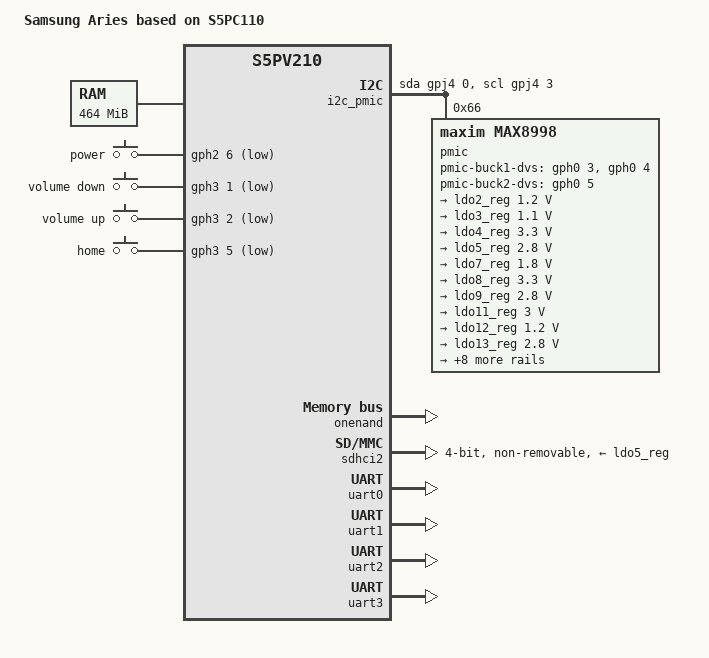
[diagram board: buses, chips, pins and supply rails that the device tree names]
/*
 * Samsung's S5PV210 SoC device tree source
 *
 * Copyright (c) 2013-2014 Samsung Electronics, Co. Ltd.
 *
 * Mateusz Krawczuk <m.krawczuk@partner.samsung.com>
 * Tomasz Figa <t.figa@samsung.com>
 *
 * Board device tree source for Samsung Aries board (Samsung GT-i9000).
 *
 * This program is free software; you can redistribute it and/or modify
 * it under the terms of the GNU General Public License version 2 as
 * published by the Free Software Foundation.
 */

/dts-v1/;
#include <dt-bindings/input/input.h>
#include "s5pv210.dtsi"

/ {
	model = "Samsung Aries based on S5PC110";
	compatible = "samsung,aries", "samsung,s5pv210";

	aliases {
		i2c6 = &i2c_pmic;
	};

	chosen {
		bootargs = "root=/dev/mmcblk0p1 rw rootwait console=ttySAC2,115200n8 ignore_loglevel earlyprintk";
	};

	memory {
		device_type = "memory";
		reg = <0x30000000 0x05000000
			0x40000000 0x10000000
			0x50000000 0x08000000>;
	};

	i2c_pmic: i2c-pmic {
		compatible = "i2c-gpio";
		gpios = <&gpj4 0 0>, /* sda */
			<&gpj4 3 0>; /* scl */
		i2c-gpio,delay-us = <2>;        /* ~100 kHz */
		#address-cells = <1>;
		#size-cells = <0>;
		status = "okay";

		pmic@66 {
			compatible = "maxim,max8998";
			reg = <0x66>;

			max8998,pmic-buck1-default-dvs-idx = <1>;
			max8998,pmic-buck1-dvs-gpios = <&gph0 3 0>,
							<&gph0 4 0>;
			max8998,pmic-buck1-dvs-voltage = <1275000>, <1200000>,
							<1050000>, <950000>;

			max8998,pmic-buck2-default-dvs-idx = <0>;
			max8998,pmic-buck2-dvs-gpio = <&gph0 5 0>;
			max8998,pmic-buck2-dvs-voltage = <1100000>, <1000000>;

			regulators {
				ldo2_reg: LDO2 {
					regulator-name = "VALIVE_1.2V";
					regulator-min-microvolt = <1200000>;
					regulator-max-microvolt = <1200000>;
					regulator-always-on;

					regulator-state-mem {
						regulator-on-in-suspend;
					};
				};

				ldo3_reg: LDO3 {
					regulator-name = "VUSB_1.1V";
					regulator-min-microvolt = <1100000>;
					regulator-max-microvolt = <1100000>;

					regulator-state-mem {
						regulator-off-in-suspend;
					};
				};

				ldo4_reg: LDO4 {
					regulator-name = "VADC_3.3V";
					regulator-min-microvolt = <3300000>;
					regulator-max-microvolt = <3300000>;
					regulator-always-on;

					regulator-state-mem {
						regulator-off-in-suspend;
					};
				};

				ldo5_reg: LDO5 {
					regulator-name = "VTF_2.8V";
					regulator-min-microvolt = <2800000>;
					regulator-max-microvolt = <2800000>;

					regulator-state-mem {
						regulator-off-in-suspend;
					};
				};

				ldo7_reg: LDO7 {
					regulator-name = "VLCD_1.8V";
					regulator-min-microvolt = <1800000>;
					regulator-max-microvolt = <1800000>;

					regulator-state-mem {
						regulator-off-in-suspend;
					};
				};

				ldo8_reg: LDO8 {
					regulator-name = "VUSB_3.3V";
					regulator-min-microvolt = <3300000>;
					regulator-max-microvolt = <3300000>;

					regulator-state-mem {
						regulator-off-in-suspend;
					};
				};

				ldo9_reg: LDO9 {
					regulator-name = "VCC_2.8V_PDA";
					regulator-min-microvolt = <2800000>;
					regulator-max-microvolt = <2800000>;
					regulator-always-on;
				};

				ldo11_reg: LDO11 {
					regulator-name = "CAM_AF_3.0V";
					regulator-min-microvolt = <3000000>;
					regulator-max-microvolt = <3000000>;

					regulator-state-mem {
						regulator-off-in-suspend;
					};
				};

				ldo12_reg: LDO12 {
					regulator-name = "CAM_SENSOR_CORE_1.2V";
					regulator-min-microvolt = <1200000>;
					regulator-max-microvolt = <1200000>;

					regulator-state-mem {
						regulator-off-in-suspend;
					};
				};

				ldo13_reg: LDO13 {
					regulator-name = "VGA_VDDIO_2.8V";
					regulator-min-microvolt = <2800000>;
					regulator-max-microvolt = <2800000>;

					regulator-state-mem {
						regulator-off-in-suspend;
					};
				};

				ldo14_reg: LDO14 {
					regulator-name = "VGA_DVDD_1.8V";
					regulator-min-microvolt = <1800000>;
					regulator-max-microvolt = <1800000>;

					regulator-state-mem {
						regulator-off-in-suspend;
					};
				};

				ldo15_reg: LDO15 {
					regulator-name = "CAM_ISP_HOST_2.8V";
					regulator-min-microvolt = <2800000>;
					regulator-max-microvolt = <2800000>;

					regulator-state-mem {
						regulator-off-in-suspend;
					};
				};

				ldo16_reg: LDO16 {
					regulator-name = "VGA_AVDD_2.8V";
					regulator-min-microvolt = <2800000>;
					regulator-max-microvolt = <2800000>;

					regulator-state-mem {
						regulator-off-in-suspend;
					};
				};

				ldo17_reg: LDO17 {
					regulator-name = "VCC_3.0V_LCD";
					regulator-min-microvolt = <3000000>;
					regulator-max-microvolt = <3000000>;

					regulator-state-mem {
						regulator-off-in-suspend;
					};
				};

				buck1_reg: BUCK1 {
					regulator-name = "VDD_ARM";
					regulator-min-microvolt = <750000>;
					regulator-max-microvolt = <1500000>;

					regulator-state-mem {
						regulator-off-in-suspend;
						regulator-suspend-microvolt = <1250000>;
					};
				};

				buck2_reg: BUCK2 {
					regulator-name = "VDD_INT";
					regulator-min-microvolt = <750000>;
					regulator-max-microvolt = <1500000>;

					regulator-state-mem {
						regulator-off-in-suspend;
						regulator-suspend-microvolt = <1100000>;
					};
				};

				buck3_reg: BUCK3 {
					regulator-name = "VCC_1.8V";
					regulator-min-microvolt = <1800000>;
					regulator-max-microvolt = <1800000>;
					regulator-always-on;
				};

				buck4_reg: BUCK4 {
					regulator-name = "CAM_ISP_CORE_1.2V";
					regulator-min-microvolt = <1200000>;
					regulator-max-microvolt = <1200000>;

					regulator-state-mem {
						regulator-off-in-suspend;
					};
				};
			};
		};
	};

	gpio-keys {
		compatible = "gpio-keys";

		power-key {
			gpios = <&gph2 6 1>;
			linux,code = <KEY_POWER>;
			label = "power";
			debounce-interval = <5>;
			gpio-key,wakeup;
		};

		vol-down-key {
			gpios = <&gph3 1 1>;
			linux,code = <KEY_VOLUMEDOWN>;
			label = "volume down";
			debounce-interval = <5>;
			gpio-key,wakeup;
		};

		vol-up-key {
			gpios = <&gph3 2 1>;
			linux,code = <KEY_VOLUMEUP>;
			label = "volume up";
			debounce-interval = <5>;
			gpio-key,wakeup;
		};

		home-key {
			gpios = <&gph3 5 1>;
			linux,code = <KEY_HOME>;
			label = "home";
			debounce-interval = <5>;
			gpio-key,wakeup;
		};
	};
};

&xusbxti {
	clock-frequency = <24000000>;
};

&onenand {
	status = "okay";
};

&sdhci2 {
	bus-width = <4>;
	non-removable;
	vmmc-supply = <&ldo5_reg>;
	pinctrl-0 = <&sd2_clk &sd2_cmd &sd2_bus4>;
	pinctrl-names = "default";
	status = "okay";
};

&uart0 {
	status = "okay";
};

&uart1 {
	status = "okay";
};

&uart2 {
	status = "okay";
};

&uart3 {
	status = "okay";
};
